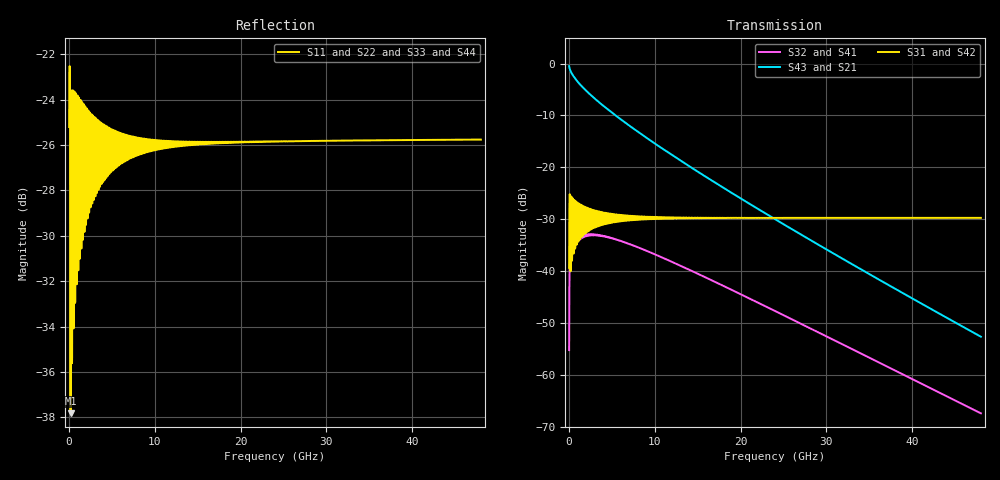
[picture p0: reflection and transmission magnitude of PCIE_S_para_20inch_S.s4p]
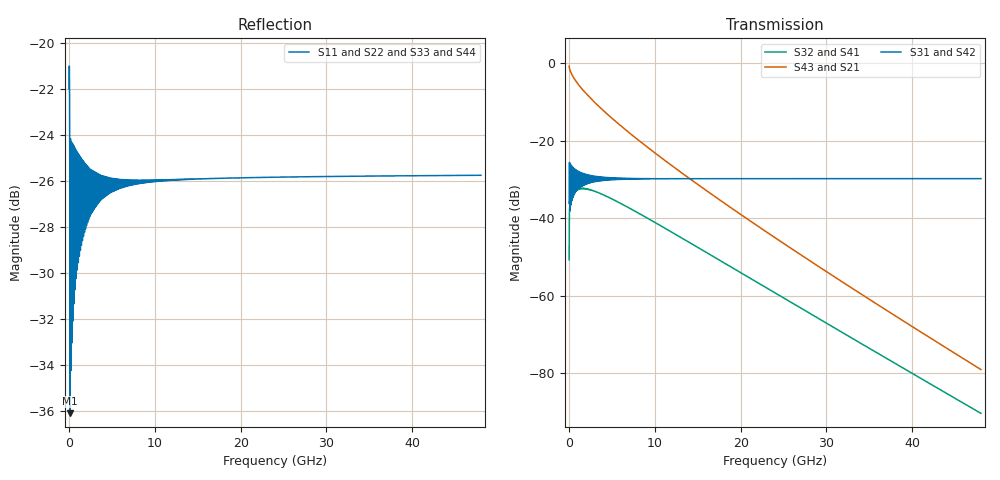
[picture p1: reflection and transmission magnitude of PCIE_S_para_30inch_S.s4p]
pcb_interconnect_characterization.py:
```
"""
PCB 互连表征工具 (PCB Interconnect Characterization)
===================================================

简介:
    本脚本用于对印制电路板（PCB）互连线进行表征，主要包含两大核心功能：
    1. 夹具去嵌 (De-embedding)：调用 IEEE P370 标准的 AFR 算法，通过 2xThru 短线智能等分并切除测试夹具，提取纯 DUT 的 S 参数。
    2. GMS 参数提取：对去嵌后的迹线进行 S 矩阵和 T 矩阵分析，通过特征值分解计算通用模态 S 参数 (GMS)，获取纯走线的传输衰减和相位特性。

作者: duoduo1802
开源协议: MIT License
日期: 2026-03-02
"""

import argparse
import datetime
import os
import sys

import matplotlib.pyplot as plt
import numpy as np
import skrf as rf
from skrf.calibration.deembedding import IEEEP370_MM_NZC_2xThru, IEEEP370_SE_NZC_2xThru

# ==========================================
# 默认配置区域
# ==========================================
# 获取脚本所在目录，确保默认文件路径正确
SCRIPT_DIR = os.path.dirname(os.path.abspath(__file__))

# 如果未提供命令行参数，则使用以下默认值：

# 默认启用双线去嵌模式
DEFAULT_ENABLE_DEEMBBEDDING = True
# 默认开启 GMS 参数提取
DEFAULT_EXTRACT_GMS = True

# 默认文件路径
DEFAULT_SHORT = os.path.join(SCRIPT_DIR, 'PCIE_S_para_20inch_S.s4p')
DEFAULT_LONG = os.path.join(SCRIPT_DIR, 'PCIE_S_para_30inch_S.s4p')
DEFAULT_SINGLE = os.path.join(SCRIPT_DIR, 'PCIE_S_para_10inch_S.s4p')
# ==========================================


def setup_args():
    """配置并解析命令行参数"""
    parser = argparse.ArgumentParser(
        description="PCB 互连表征与 GMS 提取工具"
    )
    
    # 模式选择
    mode_group = parser.add_mutually_exclusive_group()
    mode_group.add_argument('--dual', action='store_true', help='启用双线去嵌模式 (默认)')
    mode_group.add_argument('--single', action='store_true', help='启用单线模式')

    # 文件路径配置
    parser.add_argument('--short', type=str, default=DEFAULT_SHORT, help='短线 (2xThru) .s4p 文件路径')
    parser.add_argument('--long', type=str, default=DEFAULT_LONG, help='长线 (Fixture-DUT-Fixture) .s4p 文件路径')
    parser.add_argument('--target', type=str, default=DEFAULT_SINGLE, help='单线 .s4p 文件路径 (仅用于单线模式)')
    
    parser.add_argument('--no-gms', action='store_true', help='禁用 GMS 参数提取 (仅执行去嵌操作)')
    parser.add_argument('--no-plot', action='store_true', help='禁用绘图')

    return parser.parse_args()


def load_network(file_path):
    """安全加载 Touchstone (.sNp) 文件"""
    if not os.path.exists(file_path):
        raise FileNotFoundError(f"找不到文件: {file_path}")
    
    try:
        nw = rf.Network(file_path)
        print(f"  [已加载] {os.path.basename(file_path)} | 频点数: {len(nw.f)} | 端口数: {nw.nports}")
        return nw
    except Exception as e:
        raise ValueError(f"加载文件 {file_path} 失败。错误信息: {e}")


def convert_to_diff_sdd(nw):
    """
    将 4 端口网络转换为纯差分 Sdd 参数矩阵。
    处理端口映射：将可能存在的非标准映射 (输入[1,3] -> 输出[2,4]) 
    转换为 skrf 期望的标准混合模端口排列。
    """
    if nw.nports == 2:
        return nw.s
    elif nw.nports == 4:
        # P: 1(0)-2(1), N: 3(2)-4(3) -> 转换为 skrf 标准映射: In(0,2)->Diff1, Out(1,3)->Diff2
        # 利用置换矩阵 [0, 2, 1, 3] 完成用户映射到 skrf 的标准映射转换
        perm = [0, 2, 1, 3]
        s_orig = nw.s
        s_perm = s_orig[:, perm, :][:, :, perm]
        
        nw_perm = rf.Network(frequency=nw.frequency, s=s_perm)
        nw_perm.se2gmm(p=2) # 转换为混合模 S 参数
        # 提取第一个 2x2 块，即 Sdd (差分到差分)
        return nw_perm.s[:, 0:2, 0:2]
    else:
        raise ValueError(f"不支持的端口数: {nw.nports}。仅支持 2 和 4 端口。")


def calculate_eigenvalues(t_matrix_series):
    """
    计算 T 矩阵序列的特征值以提取传播常数
    """
    num_points = len(t_matrix_series)
    lambda_forward = np.zeros(num_points, dtype=complex)
    
    for i in range(num_points):
        T = t_matrix_series[i]
        try:
            eigenvalues = np.linalg.eigvals(T)
            # 对于无源传输线，选取幅值 <= 1 的特征值代表正向衰减传输特性 (abs(e^-gamma*L) <= 1)
            # 通过幅值排序通常可正确处理被动物理线路
            if np.abs(eigenvalues[0]) < np.abs(eigenvalues[1]):
                lambda_forward[i] = eigenvalues[0]
            else:
                lambda_forward[i] = eigenvalues[1]
        except np.linalg.LinAlgError:
            lambda_forward[i] = np.nan + 1j * np.nan
            
    return lambda_forward


def perform_afr_deembedding(file_short_path, file_long_path, script_dir, base_name):
    """
    使用 IEEE P370 AFR (自动夹具移除) 算法进行去嵌。
    算法通过切分短线 (2xThru) 得出左右两侧夹具模型，将这部分附加响应
    从长线两端去嵌剥离，得出纯被测走线 (DUT) 的网络参数。
    """
    print(f"--- 夹具去嵌 (AFR) ---")
    print(f"  短线(夹具): {file_short_path}")
    print(f"  长线(带夹具对象): {file_long_path}")
    
    nw_short = load_network(file_short_path)
    nw_long = load_network(file_long_path)
    
    if not np.array_equal(nw_short.f, nw_long.f):
        raise ValueError("短线和长线的频率范围不匹配。")
    
    if nw_short.nports == 4:
        dm_afr = IEEEP370_MM_NZC_2xThru(dummy_2xthru=nw_short, name='2xthru', port_order='first')
        
        left_fix_path = os.path.join(script_dir, f"AFR_{base_name}_short_half_left.s4p")
        right_fix_path = os.path.join(script_dir, f"AFR_{base_name}_short_half_right.s4p")
        dm_afr.se_side1.write_touchstone(left_fix_path)
        dm_afr.se_side2.write_touchstone(right_fix_path)
        print(f"  [AFR去嵌] 左侧一半夹具存至:\n  -> {left_fix_path}")
        print(f"  [AFR去嵌] 右侧一半夹具存至:\n  -> {right_fix_path}")
        
        nw_dut = dm_afr.deembed(nw_long)
        
    elif nw_short.nports == 2:
        dm_afr = IEEEP370_SE_NZC_2xThru(dummy_2xthru=nw_short, name='2xthru')
        
        left_fix_path = os.path.join(script_dir, f"AFR_{base_name}_short_half_left.s2p")
        right_fix_path = os.path.join(script_dir, f"AFR_{base_name}_short_half_right.s2p")
        dm_afr.s_side1.write_touchstone(left_fix_path)
        dm_afr.s_side2.write_touchstone(right_fix_path)
        print(f"  [AFR去嵌] 左侧一半单端夹具保存于:\n  -> {left_fix_path}")
        print(f"  [AFR去嵌] 右侧一半单端夹具保存于:\n  -> {right_fix_path}")
        
        nw_dut = dm_afr.deembed(nw_long)
        
    else:
        raise ValueError(f"AFR 计算遇到不支持端口总数: {nw_short.nports}")

    port_ext = f".s{nw_dut.nports}p"
    deembedded_path = os.path.join(script_dir, f"AFR_{base_name}_deembedded_DUT{port_ext}")
    nw_dut.write_touchstone(deembedded_path)
    print(f"  [AFR去嵌] 去嵌后纯 DUT S参数已落盘:\n  -> {deembedded_path}\n")
    
    return nw_dut


def extract_gms_from_network(nw):
    """
    通用 GMS 参数提取逻辑，输入为一个 rf.Network 对象 (纯DUT)
    """
    print(f"--- 开始 GMS 参数提取 ---")
    # 1. 提取差分 Sdd (S 参数矩阵)
    s_mat = convert_to_diff_sdd(nw)
    
    # 2. S 矩阵转化为 T 矩阵 (传递矩阵)
    t_mat = rf.s2t(s_mat)
    
    # 3. 求解特征值得到 GMS (通用模态 S 参数)
    lambda_forward = calculate_eigenvalues(t_mat)
    
    return nw.f, lambda_forward


def save_results(script_dir, freq, lambda_forward, base_name, suffix):
    """保存提取的 GMS 结果到 .s4p 文件"""
    # 构造 GMS S 矩阵 (对于理想差分网络: S21=S12=S34=S43=lambda, 其他=0)
    num_points = len(freq)
    s_gms = np.zeros((num_points, 4, 4), dtype=complex)
    
    # 填充正反向传输参数映射
    # 矩阵下标对应: S21(1,0), S12(0,1), S43(3,2), S34(2,3)
    s_gms[:, 1, 0] = lambda_forward
    s_gms[:, 0, 1] = lambda_forward
    s_gms[:, 3, 2] = lambda_forward
    s_gms[:, 2, 3] = lambda_forward
    
    nw_gms = rf.Network(frequency=rf.Frequency.from_f(freq, unit='hz'), s=s_gms)
    
    timestamp_str = datetime.datetime.now().strftime("%Y%m%d_%H%M%S")
    output_filename = f"{timestamp_str}_{base_name}_{suffix}.s4p"
    output_path = os.path.join(script_dir, output_filename)
    
    nw_gms.write_touchstone(output_path)
    print(f"\n[成功] GMS 参数已保存至:\n  -> {output_path}")
    return output_path


def plot_results(freq, lambda_forward, title_suffix):
    """绘制 GMS 的幅度与相位响应曲线"""
    mag_db = 20 * np.log10(np.abs(lambda_forward) + 1e-15)
    # 相位解卷绕并控制在 0~360 度之间
    phase_rad = np.unwrap(np.angle(lambda_forward))
    phase_deg = np.degrees(phase_rad) % 360
    
    freq_ghz = freq / 1e9
    
    fig, (ax1, ax2) = plt.subplots(2, 1, figsize=(10, 8))
    
    ax1.plot(freq_ghz, mag_db, label='GMS S21', color='#1f77b4')
    ax1.set_title(f'GMS S21 幅度响应 / Magnitude ({title_suffix})')
    ax1.set_ylabel('幅度 / Magnitude (dB)')
    ax1.set_xlabel('频率 / Frequency (GHz)')
    ax1.grid(True, alpha=0.3)
    ax1.legend()
    
    ax2.plot(freq_ghz, phase_deg, label='Phase', color='#d62728')
    ax2.set_title(f'GMS S21 相位响应 / Phase ({title_suffix})')
    ax2.set_ylabel('相位 / Phase (Degrees)')
    ax2.set_xlabel('频率 / Frequency (GHz)')
    ax2.grid(True, alpha=0.3)
    ax2.legend()
    
    plt.tight_layout()
    print("正在显示绘图... (关闭窗口以退出)")
    plt.show()


def main():
    args = setup_args()
    script_dir = os.path.dirname(os.path.abspath(__file__))
    
    # 确定运行模式逻辑
    if args.dual:
        use_deembed_mode = True
    elif args.single:
        use_deembed_mode = False
    else:
        # 若命令行没有指定，回退至全局默认状态
        use_deembed_mode = DEFAULT_ENABLE_DEEMBBEDDING
        
    # 确定是否提取 GMS
    extract_gms_flag = not args.no_gms if args.no_gms else DEFAULT_EXTRACT_GMS

    try:
        lambda_val = None
        freq = None
        base_name = ""
        mode_label = ""
        
        if use_deembed_mode:
            file_short = os.path.abspath(args.short)
            file_long = os.path.abspath(args.long)
            base_name = os.path.splitext(os.path.basename(file_long))[0]
            
            # 第一步：执行 AFR 去嵌
            nw_dut = perform_afr_deembedding(file_short, file_long, script_dir, base_name)
            
            # 第二步：检查是否提取 GMS
            if extract_gms_flag:
                freq, lambda_val = extract_gms_from_network(nw_dut)
                mode_label = "afr_deembedded_gms"
            else:
                print("\n[提示] 夹具去嵌已顺利执行。由于配置禁用，跳过 GMS 参数提取阶段。")
                
        else:
            # 单线模式：直接提取 GMS
            file_single = os.path.abspath(args.target)
            print(f"--- 单线模式: {file_single} ---")
            base_name = os.path.splitext(os.path.basename(file_single))[0]
            nw_single = load_network(file_single)
            
            if extract_gms_flag:
                freq, lambda_val = extract_gms_from_network(nw_single)
                mode_label = "single_gms"
            else:
                print("\n[提示] 当前为单线模式，且禁用了 GMS 提取，脚本不执行任何操作。")

        # 第三步：保存和绘图 (如果有提取到 GMS 参数)
        if lambda_val is not None:
            save_results(script_dir, freq, lambda_val, base_name, mode_label)
            if not args.no_plot:
                plot_results(freq, lambda_val, mode_label)
            
    except Exception as e:
        # 为排错保留完整的追踪路径，同时输出显式的错误提示
        import traceback
        traceback.print_exc()
        print(f"\n[错误] 流程未能走通，执行失败: {e}")
        sys.exit(1)

if __name__ == '__main__':
    main()
```
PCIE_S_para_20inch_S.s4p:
#	Hz	S	MA	R	50
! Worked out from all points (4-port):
!   4800 points, 10 MHz to 48 GHz, reference 50 ohm
!   strongest paths, dB at 10 MHz, 12.01 GHz, 24.01 GHz, 36.01 GHz, 48 GHz:
!     S31: -39.4, -29.8, -29.8, -29.8, -29.8
!     S42: -39.4, -29.8, -29.8, -29.8, -29.8
!     S43: -0.5, -17.6, -30.0, -41.6, -52.7
!     S21: -0.5, -17.6, -30.0, -41.6, -52.7
!     S32: -55.3, -38.3, -47.7, -57.5, -67.4
!     S41: -55.3, -38.3, -47.7, -57.5, -67.4
!   lowest |S11| = -37.8 dB at 180 MHz (marker M1), VSWR 1.03, Z = 49.2 - j1 ohm
!   |S11| at or under -10 dB: start of sweep to end of sweep
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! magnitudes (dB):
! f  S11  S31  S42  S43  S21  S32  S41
! 10 MHz  -25.2  -39.4  -39.4  -0.5  -0.5  -55.3  -55.3
! 180 MHz  -37.8  -39.6  -39.6  -1.4  -1.4  -39.1  -39.1
! 48 GHz  -25.8  -29.8  -29.8  -52.7  -52.7  -67.4  -67.4
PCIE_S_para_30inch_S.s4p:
#	Hz	S	MA	R	50
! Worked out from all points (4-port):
!   4800 points, 10 MHz to 48 GHz, reference 50 ohm
!   strongest paths, dB at 10 MHz, 12.01 GHz, 24.01 GHz, 36.01 GHz, 48 GHz:
!     S31: -36.1, -29.8, -29.8, -29.8, -29.8
!     S42: -36.1, -29.8, -29.8, -29.8, -29.8
!     S43: -0.8, -26.5, -45.0, -62.3, -79.0
!     S21: -0.8, -26.5, -45.0, -62.3, -79.0
!     S32: -50.7, -43.6, -59.2, -74.8, -90.3
!     S41: -50.7, -43.6, -59.2, -74.8, -90.3
!   lowest |S11| = -36.1 dB at 120 MHz (marker M1), VSWR 1.03, Z = 49.3 - j1.38 ohm
!   |S11| at or under -10 dB: start of sweep to end of sweep
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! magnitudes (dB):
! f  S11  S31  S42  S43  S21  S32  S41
! 10 MHz  -22.0  -36.1  -36.1  -0.8  -0.8  -50.7  -50.7
! 120 MHz  -36.1  -38.0  -38.0  -1.8  -1.8  -37.5  -37.5
! 48 GHz  -25.8  -29.8  -29.8  -79.0  -79.0  -90.3  -90.3
